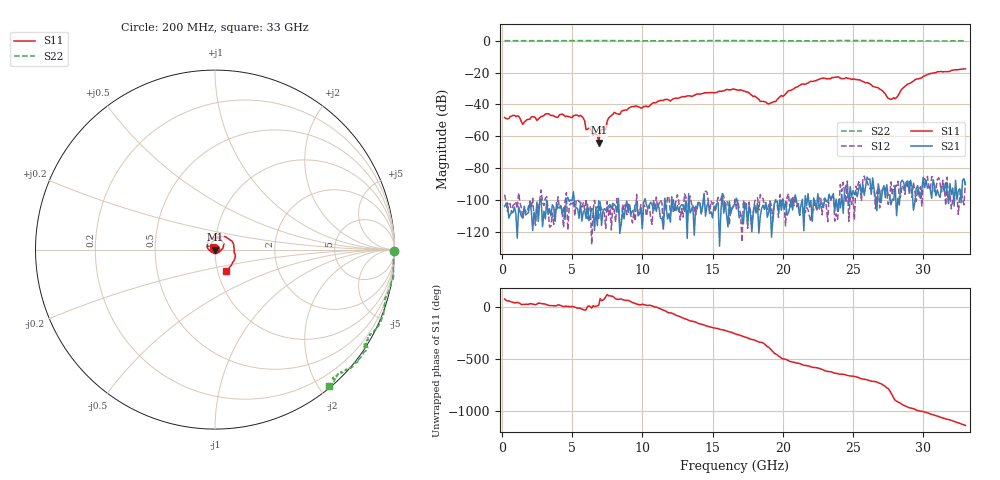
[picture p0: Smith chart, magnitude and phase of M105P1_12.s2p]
# GHZ S RI R 50
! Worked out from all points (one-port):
!   329 points, 200 MHz to 33 GHz, reference 50 ohm
!   lowest |S11| = -63.9 dB at 6.9 GHz (marker M1), VSWR 1.00, Z = 50.1 + j0.0179 ohm
!   |S11| at or under -10 dB: start of sweep to end of sweep
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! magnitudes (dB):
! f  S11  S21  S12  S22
! 200 MHz  -48.2  -103.9  -96.5  0.0
! 1.2 GHz  -47.4  -104.1  -95.5  0.0
! 1.5 GHz  -52.5  -111.0  -111.6  0.0
! 3.2 GHz  -45.8  -99.9  -97.8  0.0
! 5.7 GHz  -47.5  -113.2  -104.4  0.0
! 5.9 GHz  -50.4  -106.2  -105.9  0.0
! 6 GHz  -55.9  -111.4  -99.3  0.0
! 6.8 GHz  -59.1  -115.9  -104.1  0.0
! 6.9 GHz  -63.9  -100.4  -111.5  0.0
! 7.1 GHz  -55.6  -115.9  -105.9  0.0
! 7.4 GHz  -55.9  -106.3  -117.7  0.0
! 7.6 GHz  -48.6  -103.6  -109.5  0.0
! 8 GHz  -44.9  -102.6  -106.4  0.0
! 11.2 GHz  -37.8  -105.4  -102.1  -0.1
! 16.6 GHz  -30.6  -101.8  -99.6  0.1
! 19 GHz  -39.7  -107.7  -102.6  -0.1
! 22.1 GHz  -25.6  -113.3  -106.3  -0.1
! 25.5 GHz  -24.6  -89.8  -90.4  0.1
! 26.8 GHz  -29.5  -89.7  -91.9  0.1
! 27.6 GHz  -36.4  -97.1  -100.6  0.0
! 30.4 GHz  -20.9  -91.2  -91.6  -0.2
! 33 GHz  -17.6  -90.3  -88.3  -0.1
